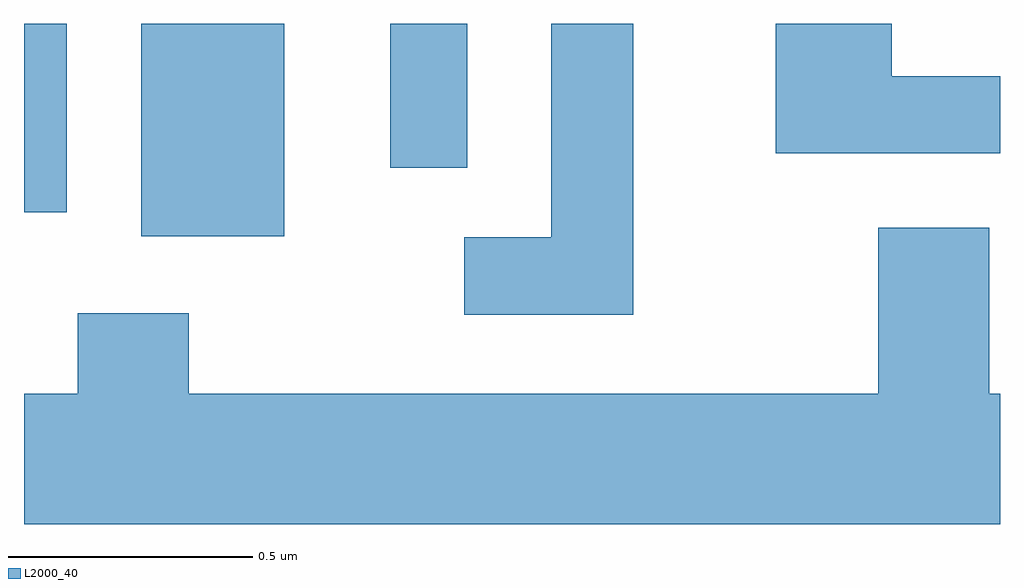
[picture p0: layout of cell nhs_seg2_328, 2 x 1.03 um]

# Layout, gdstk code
import gdstk
lib = gdstk.Library(unit=1e-6, precision=1e-09)
def R(c, l, rs):  # rectangles x0, y0, x1, y1
    for r in rs: c.add(gdstk.rectangle(r[:2], r[2:], *l))
def P(c, l, *ps):  # polygons
    for p in ps: c.add(gdstk.Polygon(p, *l))
L2000_40 = (2000, 40)

nhs_seg2_328 = lib.new_cell('nhs_seg2_328')
R(nhs_seg2_328, L2000_40, [(187.851,1033.366,188.144,1033.802), (187.611,1033.416,187.699,1033.802), (188.361,1033.507,188.519,1033.802)])
P(nhs_seg2_328, L2000_40, [(188.859,1033.802),(188.691,1033.802),(188.691,1033.364),(188.513,1033.364),(188.513,1033.206),(188.859,1033.206)],
  [(189.611,1033.694),(189.389,1033.694),(189.389,1033.802),(189.151,1033.802),(189.151,1033.536),(189.611,1033.536)],
  [(189.611,1033.044),(189.589,1033.044),(189.589,1033.384),(189.361,1033.384),(189.361,1033.044),(187.949,1033.044),(187.949,1033.209),(187.721,1033.209),(187.721,1033.044),(187.611,1033.044),(187.611,1032.776),(189.611,1032.776)])

lib.write_gds('nhs_seg2_328.gds')
